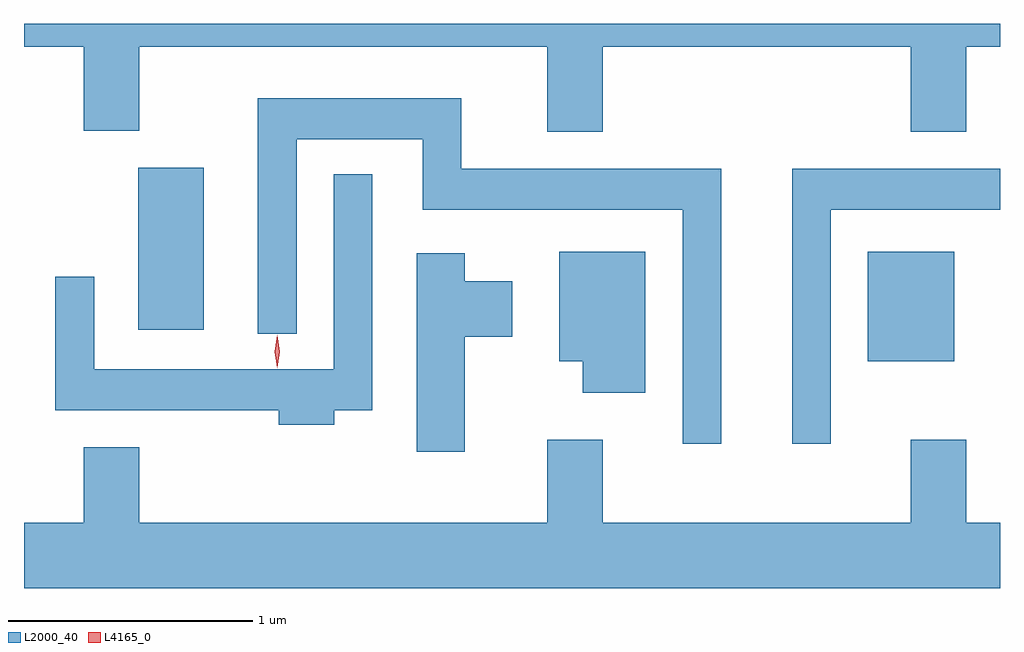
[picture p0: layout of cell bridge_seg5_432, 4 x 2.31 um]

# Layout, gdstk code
import gdstk
lib = gdstk.Library(unit=1e-6, precision=1e-09)
def R(c, l, rs):  # rectangles x0, y0, x1, y1
    for r in rs: c.add(gdstk.rectangle(r[:2], r[2:], *l))
def P(c, l, *ps):  # polygons
    for p in ps: c.add(gdstk.Polygon(p, *l))
L2000_40 = (2000, 40)
L4165_0 = (4165, 0)

bridge_seg5_432 = lib.new_cell('bridge_seg5_432')
R(bridge_seg5_432, L2000_40, [(382.906,1491.026,383.259,1491.474), (379.916,1491.156,380.184,1491.819)])
P(bridge_seg5_432, L2000_40, [(381.819,1492.316),(383.081,1492.316),(383.081,1491.966),(383.309,1491.966),(383.309,1492.316),(383.447,1492.316),(383.447,1492.409),(379.447,1492.409),(379.447,1492.316),(379.691,1492.316),(379.691,1491.971),(379.919,1491.971),(379.919,1492.316),(381.591,1492.316),(381.591,1491.966),(381.819,1491.966)],
  [(382.304,1491.814),(381.239,1491.814),(381.239,1492.104),(380.406,1492.104),(380.406,1491.138),(380.564,1491.138),(380.564,1491.936),(381.081,1491.936),(381.081,1491.646),(382.146,1491.646),(382.146,1490.688),(382.304,1490.688)],
  [(382.754,1491.646),(383.447,1491.646),(383.447,1491.814),(382.596,1491.814),(382.596,1490.688),(382.754,1490.688)],
  [(380.719,1490.826),(380.874,1490.826),(380.874,1491.793),(380.716,1491.793),(380.716,1490.994),(379.734,1490.994),(379.734,1491.373),(379.576,1491.373),(379.576,1490.826),(380.491,1490.826),(380.491,1490.766),(380.719,1490.766)],
  [(381.994,1491.474),(381.641,1491.474),(381.641,1491.026),(381.736,1491.026),(381.736,1490.896),(381.994,1490.896)],
  [(381.254,1491.126),(381.449,1491.126),(381.449,1491.354),(381.254,1491.354),(381.254,1491.469),(381.056,1491.469),(381.056,1490.656),(381.254,1490.656)],
  [(383.447,1490.364),(383.309,1490.364),(383.309,1490.704),(383.081,1490.704),(383.081,1490.364),(381.819,1490.364),(381.819,1490.704),(381.591,1490.704),(381.591,1490.364),(379.919,1490.364),(379.919,1490.674),(379.691,1490.674),(379.691,1490.364),(379.447,1490.364),(379.447,1490.096),(383.447,1490.096)])
P(bridge_seg5_432, L4165_0, [(380.485,1490.999),(380.484,1491),(380.475,1491.066),(380.484,1491.132),(380.485,1491.133),(380.485,1491.132),(380.495,1491.066),(380.485,1491)])

lib.write_gds('bridge_seg5_432.gds')
